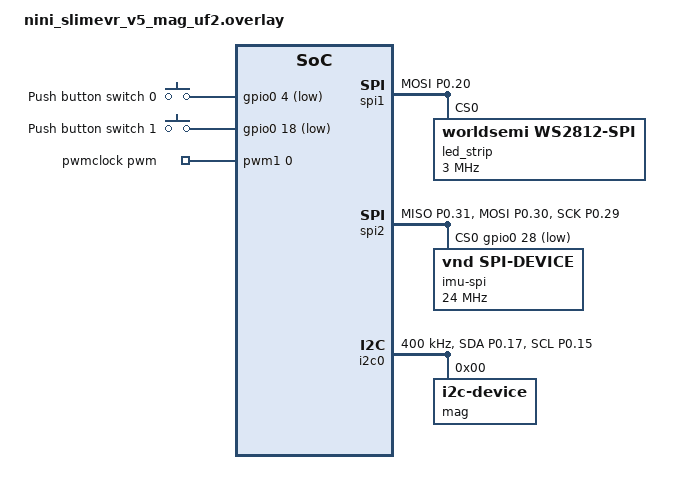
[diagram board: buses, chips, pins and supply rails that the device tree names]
/ {
	buttons {
		compatible = "gpio-keys";
		button0: button_0 {
			gpios = <&gpio0 4 (GPIO_PULL_UP | GPIO_ACTIVE_LOW)>;
			label = "Push button switch 0";
		};
		button1: button_1 {
			gpios = <&gpio0 18 (GPIO_PULL_UP | GPIO_ACTIVE_LOW)>;
			label = "Push button switch 1";
		};
	};

	pwmclock: pwmclock {
		compatible = "pwm-clock";
		#clock-cells = <1>;
		pwms = <&pwm1 0 PWM_HZ(32768) PWM_POLARITY_NORMAL>;
	};

	aliases {
		sw0 = &button0;
		sw1 = &button1;
		led-strip = &led_strip;
		imu0 = &imu_spi;
	};
};

&pinctrl {
	spi2_default: spi2_default {
		group1 {
			psels = <NRF_PSEL(SPIM_MISO, 0, 31)>,
				<NRF_PSEL(SPIM_MOSI, 0, 30)>,
				<NRF_PSEL(SPIM_SCK,  0, 29)>;
			bias-disable;
		};
	};

	spi2_sleep: spi2_sleep {
		group1 {
			psels = <NRF_PSEL(SPIM_MISO, 0, 31)>,
				<NRF_PSEL(SPIM_MOSI, 0, 30)>,
				<NRF_PSEL(SPIM_SCK,  0, 29)>;
			low-power-enable;
		};
	};

	i2c0_default: i2c0_default {
		group1 {
			psels = <NRF_PSEL(TWIM_SDA, 0, 17)>,
				<NRF_PSEL(TWIM_SCL, 0, 15)>;
			bias-disable;
		};
	};

	i2c0_sleep: i2c0_sleep {
		group1 {
			psels = <NRF_PSEL(TWIM_SDA, 0, 17)>,
				<NRF_PSEL(TWIM_SCL, 0, 15)>;
			low-power-enable;
		};
	};

	/* WS2812 data output: spi1 MOSI on P0.20 */
spi1_ws2812_default: spi1_ws2812_default {
  group1 {
    psels = <NRF_PSEL(SPIM_MOSI, 0, 20)>;
    bias-disable;
  };
};

spi1_ws2812_sleep: spi1_ws2812_sleep {
  group1 {
    psels = <NRF_PIN_DISCONNECTED>;
    low-power-enable;
  };
};
};

&spi1 {
  status = "okay";
  compatible = "nordic,nrf-spim";
  pinctrl-0 = <&spi1_ws2812_default>;
  pinctrl-1 = <&spi1_ws2812_sleep>;
  pinctrl-names = "default", "sleep";

  	/* WS2812B (XL-1615RGBC-WS2812B-S) on P0.20 via spi1-MOSI */
	led_strip: ws2812@0 {
  		compatible = "worldsemi,ws2812-spi";
  		reg = <0>;
 	 	spi-max-frequency = <DT_FREQ_M(3)>;
 		 chain-length = <1>;
 		 color-mapping = <LED_COLOR_ID_GREEN
               			    LED_COLOR_ID_RED
                 		  LED_COLOR_ID_BLUE>;
		spi-one-frame = <1>;
   		spi-zero-frame = <1>;
};
};

&spi2 {
	status = "okay";
	compatible = "nordic,nrf-spim";
	pinctrl-0 = <&spi2_default>;
	pinctrl-1 = <&spi2_sleep>;
	pinctrl-names = "default", "sleep";

	cs-gpios = <&gpio0 28 GPIO_ACTIVE_LOW>;

	imu_spi: imu@0 {
		compatible = "vnd,spi-device";
		reg = <0>;
		label = "imu-spi";
		spi-max-frequency = <DT_FREQ_M(24)>;
	};
};

&i2c0 {
	compatible = "nordic,nrf-twim";
	status = "okay";
	zephyr,concat-buf-size = <1023>;
	zephyr,flash-buf-max-size = <1023>;
	clock-frequency = <I2C_BITRATE_FAST>;
	pinctrl-0 = <&i2c0_default>;
	pinctrl-1 = <&i2c0_sleep>;
	pinctrl-names = "default", "sleep";

	mag: mag@0 {
		compatible = "i2c-device";
		label = "mag";
		reg = <0>;
	};
};


